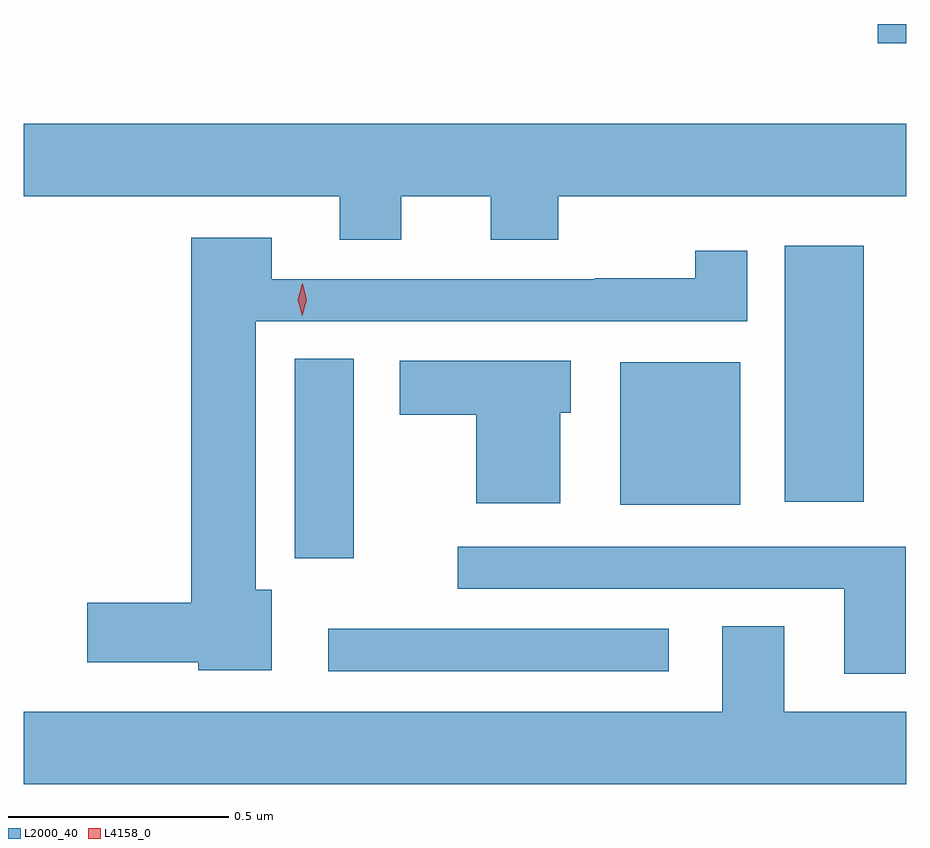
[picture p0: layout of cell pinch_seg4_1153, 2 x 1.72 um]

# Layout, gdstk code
import gdstk
lib = gdstk.Library(unit=1e-6, precision=1e-09)
def R(c, l, rs):  # rectangles x0, y0, x1, y1
    for r in rs: c.add(gdstk.rectangle(r[:2], r[2:], *l))
def P(c, l, *ps):  # polygons
    for p in ps: c.add(gdstk.Polygon(p, *l))
L2000_40 = (2000, 40)
L4158_0 = (4158, 0)

pinch_seg4_1153 = lib.new_cell('pinch_seg4_1153')
R(pinch_seg4_1153, L2000_40, [(434.724,827.712,435.496,827.808), (434.648,827.967,434.782,828.419), (435.386,828.089,435.658,828.412), (435.758,828.095,435.937,828.676), (435.969,829.134,436.034,829.178)])
P(pinch_seg4_1153, L2000_40, [(434.89,828.788),(435.092,828.788),(435.092,828.689),(435.245,828.689),(435.245,828.788),(436.034,828.788),(436.034,828.952),(434.034,828.952),(434.034,828.788),(434.75,828.788),(434.75,828.689),(434.89,828.689)],
  [(434.596,827.896),(434.56,827.896),(434.56,828.504),(435.673,828.504),(435.673,828.664),(435.556,828.664),(435.556,828.602),(435.328,828.602),(435.328,828.6),(434.596,828.6),(434.596,828.694),(434.414,828.694),(434.414,827.867),(434.178,827.867),(434.178,827.732),(434.43,827.732),(434.43,827.714),(434.596,827.714)],
  [(435.25,828.297),(435.274,828.297),(435.274,828.415),(434.886,828.415),(434.886,828.293),(435.059,828.293),(435.059,828.092),(435.25,828.092)],
  [(436.033,827.994),(435.018,827.994),(435.018,827.898),(435.893,827.898),(435.893,827.706),(436.033,827.706)],
  [(436.034,827.62),(435.757,827.62),(435.757,827.813),(435.617,827.813),(435.617,827.62),(434.034,827.62),(434.034,827.456),(436.034,827.456)])
P(pinch_seg4_1153, L4158_0, [(434.665,828.517),(434.665,828.517),(434.655,828.553),(434.665,828.589),(434.666,828.589),(434.666,828.589),(434.675,828.553),(434.665,828.517)])

lib.write_gds('pinch_seg4_1153.gds')
